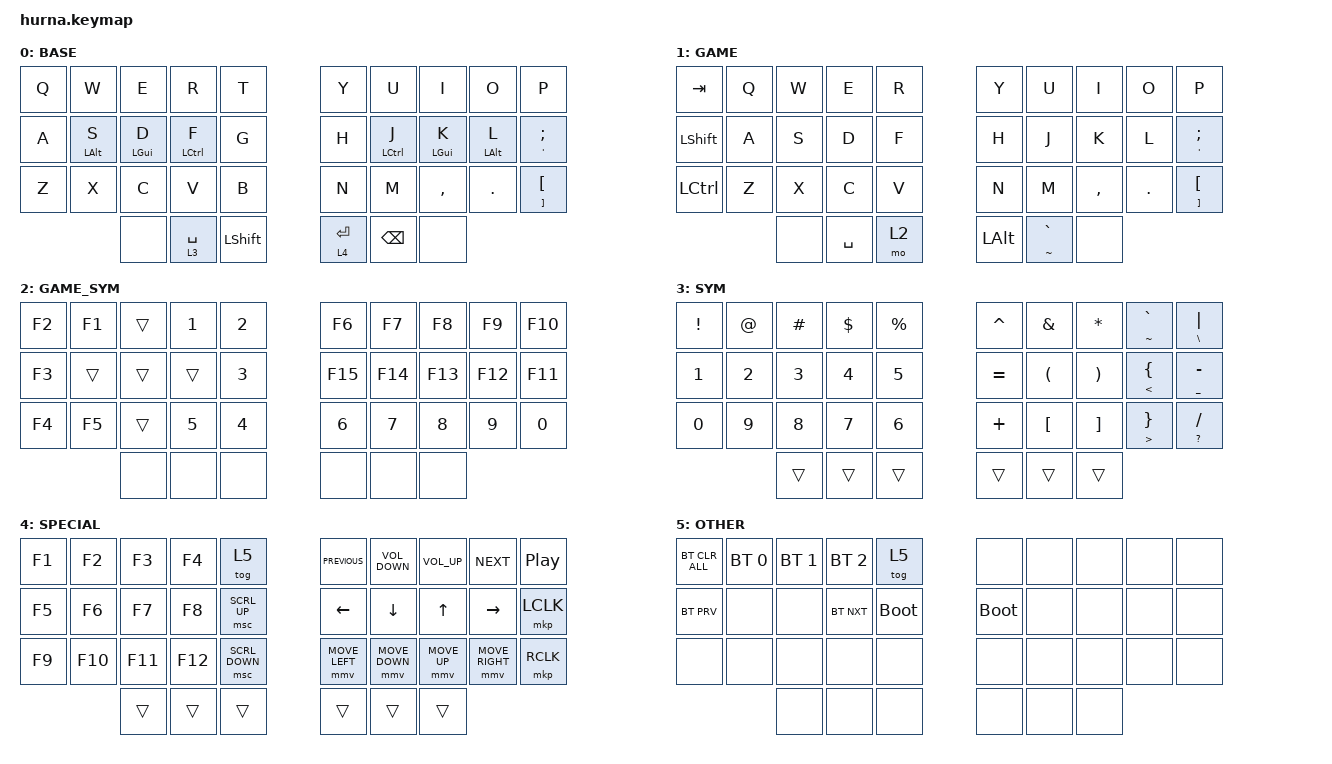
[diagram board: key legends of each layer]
/*
 * Copyright (c) 2020 The ZMK Contributors
 *
 * SPDX-License-Identifier: MIT
 */

#include <behaviors.dtsi>
#include <dt-bindings/zmk/bt.h>
#include <dt-bindings/zmk/keys.h>
#include <dt-bindings/zmk/pointing.h>

&lt {
    flavor = "balanced";
    quick-tap-ms = <175>;
};

/ {
    behaviors {
        hm_l: homerow_mods_left {
            compatible = "zmk,behavior-hold-tap";
            label = "Homerow_Mods_Left";
            bindings = <&kp>, <&kp>;

            #binding-cells = <2>;
            tapping-term-ms = <280>;
            require-prior-idle-ms = <150>;
            flavor = "tap-preferred";
            hold-trigger-on-release;
            quick-tap-ms = <175>;
            hold-trigger-key-positions = <41 40 39 5 6 7 8 9 15 16 17 18 19 25 26 27 28 29 33 34 35>;
        };

        ht: my_hold_tap {
            compatible = "zmk,behavior-hold-tap";
            label = "My_Hold_Tap";
            bindings = <&kp>, <&kp>;

            #binding-cells = <2>;
            tapping-term-ms = <150>;
            require-prior-idle-ms = <130>;
            flavor = "tap-preferred";
        };

        hm_r: homerow_mods_right {
            compatible = "zmk,behavior-hold-tap";
            label = "Homerow_Mods_Right";
            bindings = <&kp>, <&kp>;

            #binding-cells = <2>;
            tapping-term-ms = <280>;
            require-prior-idle-ms = <150>;
            flavor = "tap-preferred";
            hold-trigger-on-release;
            quick-tap-ms = <175>;
            hold-trigger-key-positions = <36 37 38 0 1 2 3 4 10 11 12 13 14 20 21 22 23 24 30 31 32>;
        };

        l2: l2 {
            compatible = "zmk,behavior-hold-tap";
            label = "L2";
            bindings = <&mo>, <&kp>;

            #binding-cells = <2>;
            tapping-term-ms = <200>;
            flavor = "balanced";
            quick-tap-ms = <175>;
        };
    };

    combos {
        compatible = "zmk,combos";

        esc {
            bindings = <&kp ESC>;
            key-positions = <1 0>;
            layers = <0 1>;
            require-prior-idle-ms = <100>;
        };

        tab {
            bindings = <&kp TAB>;
            key-positions = <12 11>;
            layers = <0>;
            require-prior-idle-ms = <100>;
        };

        game_t {
            bindings = <&kp T>;
            key-positions = <4 14>;
            layers = <1>;
        };

        game_g {
            bindings = <&kp G>;
            key-positions = <14 24>;
            layers = <1>;
        };

        game_b {
            bindings = <&kp B>;
            key-positions = <24 31>;
            layers = <1>;
        };

        gaming {
            bindings = <&tog 1>;
            key-positions = <32 33>;
        };
    };

    keymap {
        compatible = "zmk,keymap";

        BASE {
            bindings = <
&kp Q  &kp W             &kp E             &kp R                 &kp T                                       &kp Y          &kp U                 &kp I             &kp O             &kp P
&kp A  &hm_l LEFT_ALT S  &hm_l LEFT_GUI D  &hm_l LEFT_CONTROL F  &kp G                                       &kp H          &hm_r LEFT_CONTROL J  &hm_r LEFT_GUI K  &hm_r LEFT_ALT L  &ht SQT SEMICOLON
&kp Z  &kp X             &kp C             &kp V                 &kp B                                       &kp N          &kp M                 &kp COMMA         &kp PERIOD        &ht RIGHT_BRACKET LEFT_BRACKET
                                           &none                 &l2 3 SPACE  &kp LEFT_SHIFT    &lt 4 ENTER  &kp BACKSPACE  &none
            >;
        };

        GAME {
            bindings = <
&kp TAB           &kp Q  &kp W  &kp E  &kp R                             &kp Y            &kp U  &kp I      &kp O       &kp P
&kp LEFT_SHIFT    &kp A  &kp S  &kp D  &kp F                             &kp H            &kp J  &kp K      &kp L       &ht SQT SEMICOLON
&kp LEFT_CONTROL  &kp Z  &kp X  &kp C  &kp V                             &kp N            &kp M  &kp COMMA  &kp PERIOD  &ht RIGHT_BRACKET LEFT_BRACKET
                                &none  &kp SPACE  &mo 2    &kp LEFT_ALT  &ht TILDE GRAVE  &none
            >;
        };

        GAME_SYM {
            bindings = <
&kp F2  &kp F1  &trans  &kp NUMBER_1  &kp NUMBER_2                  &kp F6        &kp F7        &kp F8        &kp F9        &kp F10
&kp F3  &trans  &trans  &trans        &kp NUMBER_3                  &kp F15       &kp F14       &kp F13       &kp F12       &kp F11
&kp F4  &kp F5  &trans  &kp N5        &kp NUMBER_4                  &kp NUMBER_6  &kp NUMBER_7  &kp NUMBER_8  &kp NUMBER_9  &kp NUMBER_0
                        &none         &none         &none    &none  &none         &none
            >;
        };

        SYM {
            bindings = <
&kp EXCLAMATION  &kp AT_SIGN  &kp HASH  &kp DOLLAR  &kp PERCENT                    &kp CARET  &kp AMPERSAND         &kp ASTERISK           &ht TILDE GRAVE               &ht BACKSLASH PIPE
&kp N1           &kp N2       &kp N3    &kp N4      &kp N5                         &kp EQUAL  &kp LEFT_PARENTHESIS  &kp RIGHT_PARENTHESIS  &ht LESS_THAN LEFT_BRACE      &ht UNDERSCORE MINUS
&kp N0           &kp N9       &kp N8    &kp N7      &kp N6                         &kp PLUS   &kp LEFT_BRACKET      &kp RIGHT_BRACKET      &ht GREATER_THAN RIGHT_BRACE  &ht QMARK FSLH
                                        &trans      &trans       &trans    &trans  &trans     &trans
            >;
        };

        SPECIAL {
            bindings = <
&kp F1  &kp F2   &kp F3   &kp F4   &tog 5                            &kp C_PREVIOUS  &kp C_VOLUME_DOWN  &kp C_VOLUME_UP  &kp C_NEXT       &kp C_PLAY_PAUSE
&kp F5  &kp F6   &kp F7   &kp F8   &msc SCRL_UP                      &kp LEFT_ARROW  &kp DOWN_ARROW     &kp UP_ARROW     &kp RIGHT_ARROW  &mkp LCLK
&kp F9  &kp F10  &kp F11  &kp F12  &msc SCRL_DOWN                    &mmv MOVE_LEFT  &mmv MOVE_DOWN     &mmv MOVE_UP     &mmv MOVE_RIGHT  &mkp RCLK
                          &trans   &trans          &trans    &trans  &trans          &trans
            >;
        };

        OTHER {
            bindings = <
&bt BT_CLR_ALL  &bt BT_SEL 0  &bt BT_SEL 1  &bt BT_SEL 2  &tog 5                       &none        &none  &none  &none  &none
&bt BT_PRV      &none         &none         &bt BT_NXT    &bootloader                  &bootloader  &none  &none  &none  &none
&none           &none         &none         &none         &none                        &none        &none  &none  &none  &none
                                            &none         &none        &none    &none  &none        &none
            >;
        };
    };
};
